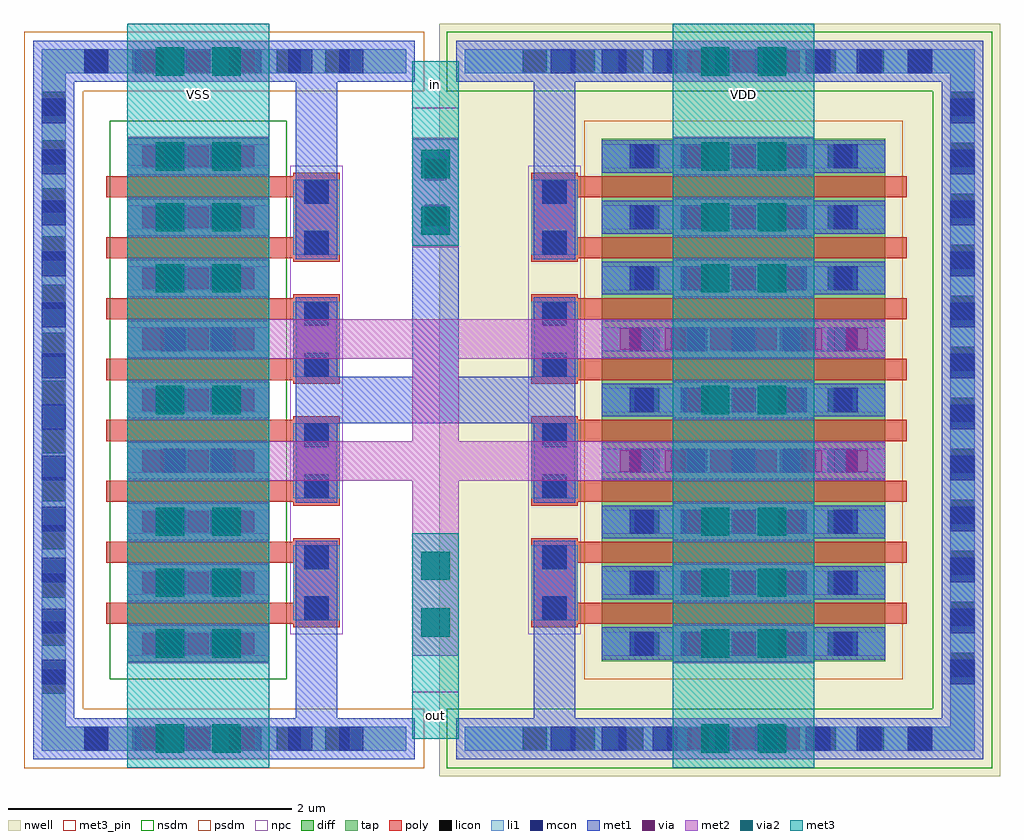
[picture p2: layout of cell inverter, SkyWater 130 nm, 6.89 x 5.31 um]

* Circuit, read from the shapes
.subckt inverter VDD VSS in out
XM1 VSS VSS VSS VSS sky130_fd_pr__nfet_01v8 w=1 l=0.15 m=4
XM2 out in VSS VSS sky130_fd_pr__nfet_01v8 w=1 l=0.15 m=4
XM3 VDD VDD VDD VDD sky130_fd_pr__pfet_01v8 w=2 l=0.15 m=4
XM4 out in VDD VDD sky130_fd_pr__pfet_01v8 w=2 l=0.15 m=4
.ends

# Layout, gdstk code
from math import pi, radians
import gdstk
lib = gdstk.Library(unit=1e-6, precision=1e-09)
def R(c, l, rs):  # rectangles x0, y0, x1, y1
    for r in rs: c.add(gdstk.rectangle(r[:2], r[2:], *l))
def A(c, l, x, y, w, h, nx, ny, dx, dy):  # array of equal rectangles
    R(c, l, [(x+i*dx, y+j*dy, x+i*dx+w, y+j*dy+h) for i in range(nx) for j in range(ny)])
nwell = (64, 20)
diff = (65, 20)
tap = (65, 44)
poly = (66, 20)
licon = (66, 44)
li1 = (67, 20)
mcon = (67, 44)
met1 = (68, 20)
via = (68, 44)
met2 = (69, 20)
via2 = (69, 44)
met3_pin = (70, 16)
met3 = (70, 20)
nsdm = (93, 44)
psdm = (94, 20)
npc = (95, 20)

polyconn_cdns_7135568212 = lib.new_cell('polyConn_CDNS_713556821250')
R(polyconn_cdns_7135568212, poly, [(-0.165,-0.315,0.165,0.315)])
R(polyconn_cdns_7135568212, licon, [(-0.085,-0.265,0.085,-0.095), (-0.085,0.095,0.085,0.265)])
R(polyconn_cdns_7135568212, li1, [(-0.165,-0.265,0.165,0.265)])
R(polyconn_cdns_7135568212, mcon, [(-0.085,-0.265,0.085,-0.095), (-0.085,0.095,0.085,0.265)])
R(polyconn_cdns_7135568212, met1, [(-0.145,-0.295,0.145,0.295)])
R(polyconn_cdns_7135568212, npc, [(-0.185,-0.365,0.185,0.365)])

m2m3_c_cdns_713556821256 = lib.new_cell('M2M3_C_CDNS_7135568212564')
R(m2m3_c_cdns_713556821256, met2, [(-0.5,-0.14,0.5,0.14)])
R(m2m3_c_cdns_713556821256, via2, [(-0.3,-0.1,-0.1,0.1), (0.1,-0.1,0.3,0.1)])
R(m2m3_c_cdns_713556821256, met3, [(-0.5,-0.165,0.5,0.165)])

c_m2m3_c_cdns_713556821256 = lib.new_cell('M2M3_C_CDNS_7135568212562')
R(c_m2m3_c_cdns_713556821256, met2, [(-0.5,-0.145,0.5,0.145)])
R(c_m2m3_c_cdns_713556821256, via2, [(-0.3,-0.1,-0.1,0.1), (0.1,-0.1,0.3,0.1)])
R(c_m2m3_c_cdns_713556821256, met3, [(-0.5,-0.165,0.5,0.165)])

m2m3_c_cdns_713556821255 = lib.new_cell('M2M3_C_CDNS_713556821255')
R(m2m3_c_cdns_713556821255, met2, [(-0.165,-0.43,0.165,0.43)])
R(m2m3_c_cdns_713556821255, via2, [(-0.1,-0.3,0.1,-0.1), (-0.1,0.1,0.1,0.3)])
R(m2m3_c_cdns_713556821255, met3, [(-0.165,-0.43,0.165,0.43)])

m1m2_c_cdns_713556821256 = lib.new_cell('M1M2_C_CDNS_7135568212563')
R(m1m2_c_cdns_713556821256, met1, [(-0.5,-0.13,0.5,0.13)])
A(m1m2_c_cdns_713556821256, via, -0.395, -0.075, 0.15, 0.15, 3, 1, 0.32, 0)
R(m1m2_c_cdns_713556821256, met2, [(-0.5,-0.14,0.5,0.14)])

c_m1m2_c_cdns_713556821256 = lib.new_cell('M1M2_C_CDNS_7135568212561')
R(c_m1m2_c_cdns_713556821256, met1, [(-0.5,-0.145,0.5,0.145)])
A(c_m1m2_c_cdns_713556821256, via, -0.395, -0.075, 0.15, 0.15, 3, 1, 0.32, 0)
R(c_m1m2_c_cdns_713556821256, met2, [(-0.5,-0.145,0.5,0.145)])

m1m2_c_cdns_713556821254 = lib.new_cell('M1M2_C_CDNS_7135568212544')
R(m1m2_c_cdns_713556821254, met1, [(-0.5,-0.13,0.5,0.13)])
A(m1m2_c_cdns_713556821254, via, -0.395, -0.075, 0.15, 0.15, 3, 1, 0.32, 0)
R(m1m2_c_cdns_713556821254, met2, [(-0.5,-0.13,0.5,0.13)])

nfet_01v8_cdns_713556821 = lib.new_cell('nfet_01v8_CDNS_7135568212514')
R(nfet_01v8_cdns_713556821, diff, [(0,-1.665,1,0.225)])
A(nfet_01v8_cdns_713556821, poly, -0.15, -1.44, 1.3, 0.15, 1, 4, 0, 0.43)
A(nfet_01v8_cdns_713556821, licon, 0.245, -1.665, 0.17, 0.17, 1, 5, 0, 0.43)
A(nfet_01v8_cdns_713556821, licon, 0.585, -1.665, 0.17, 0.17, 1, 5, 0, 0.43)
A(nfet_01v8_cdns_713556821, li1, 0, -1.665, 1, 0.17, 1, 5, 0, 0.43)
A(nfet_01v8_cdns_713556821, mcon, 0.235, -1.665, 0.17, 0.17, 1, 5, 0, 0.43)
A(nfet_01v8_cdns_713556821, mcon, 0.595, -1.665, 0.17, 0.17, 1, 5, 0, 0.43)
A(nfet_01v8_cdns_713556821, met1, 0, -1.695, 1, 0.23, 1, 5, 0, 0.43)
R(nfet_01v8_cdns_713556821, nsdm, [(-0.125,-1.79,1.125,0.35)])

c_nfet_01v8_cdns_713556821 = lib.new_cell('nfet_01v8_CDNS_7135568212510')
R(c_nfet_01v8_cdns_713556821, diff, [(0,-0.845,1,0.055)])
R(c_nfet_01v8_cdns_713556821, poly, [(-0.15,-0.58,1.15,-0.43), (-0.15,-0.15,1.15,0)])
R(c_nfet_01v8_cdns_713556821, licon, [(0.245,-0.805,0.415,-0.635), (0.585,-0.805,0.755,-0.635), (0.245,-0.375,0.415,-0.205), (0.585,-0.375,0.755,-0.205)])
R(c_nfet_01v8_cdns_713556821, li1, [(0,-0.805,1,-0.635), (0,-0.375,1,-0.205)])
R(c_nfet_01v8_cdns_713556821, mcon, [(0.235,-0.805,0.405,-0.635), (0.595,-0.805,0.765,-0.635), (0.235,-0.375,0.405,-0.205), (0.595,-0.375,0.765,-0.205)])
R(c_nfet_01v8_cdns_713556821, met1, [(0,-0.835,1,-0.605), (0,-0.405,1,-0.175)])
R(c_nfet_01v8_cdns_713556821, nsdm, [(-0.125,-0.97,1.125,0.18)])

m1m2_c_cdns_713556821255 = lib.new_cell('M1M2_C_CDNS_7135568212558')
R(m1m2_c_cdns_713556821255, met1, [(-1,-0.13,1,0.13)])
A(m1m2_c_cdns_713556821255, via, -0.875, -0.075, 0.15, 0.15, 6, 1, 0.32, 0)
R(m1m2_c_cdns_713556821255, met2, [(-1,-0.13,1,0.13)])

pfet_01v8_cdns_713556821 = lib.new_cell('pfet_01v8_CDNS_7135568212516')
R(pfet_01v8_cdns_713556821, nwell, [(-0.18,-1.025,2.18,0.235)])
R(pfet_01v8_cdns_713556821, diff, [(0,-0.845,2,0.055)])
R(pfet_01v8_cdns_713556821, poly, [(-0.15,-0.58,2.15,-0.43), (-0.15,-0.15,2.15,0)])
A(pfet_01v8_cdns_713556821, licon, 0.235, -0.805, 0.17, 0.17, 5, 2, 0.34, 0.43)
R(pfet_01v8_cdns_713556821, li1, [(0,-0.805,2,-0.635), (0,-0.375,2,-0.205)])
A(pfet_01v8_cdns_713556821, mcon, 0.195, -0.805, 0.17, 0.17, 5, 2, 0.36, 0.43)
R(pfet_01v8_cdns_713556821, met1, [(0,-0.835,2,-0.605), (0,-0.405,2,-0.175)])
R(pfet_01v8_cdns_713556821, psdm, [(-0.125,-0.97,2.125,0.18)])

c_pfet_01v8_cdns_713556821 = lib.new_cell('pfet_01v8_CDNS_7135568212515')
R(c_pfet_01v8_cdns_713556821, nwell, [(-0.18,-1.845,2.18,0.405)])
R(c_pfet_01v8_cdns_713556821, diff, [(0,-1.665,2,0.225)])
A(c_pfet_01v8_cdns_713556821, poly, -0.15, -1.44, 2.3, 0.15, 1, 4, 0, 0.43)
A(c_pfet_01v8_cdns_713556821, licon, 0.235, -1.665, 0.17, 0.17, 5, 5, 0.34, 0.43)
A(c_pfet_01v8_cdns_713556821, li1, 0, -1.665, 2, 0.17, 1, 5, 0, 0.43)
A(c_pfet_01v8_cdns_713556821, mcon, 0.195, -1.665, 0.17, 0.17, 5, 5, 0.36, 0.43)
A(c_pfet_01v8_cdns_713556821, met1, 0, -1.695, 2, 0.23, 1, 5, 0, 0.43)
R(c_pfet_01v8_cdns_713556821, psdm, [(-0.125,-1.79,2.125,0.35)])

c_m2m3_c_cdns_713556821256_ = lib.new_cell('M2M3_C_CDNS_7135568212560')
R(c_m2m3_c_cdns_713556821256_, met2, [(-0.165,-0.385,0.165,0.385)])
R(c_m2m3_c_cdns_713556821256_, via2, [(-0.1,-0.3,0.1,-0.1), (-0.1,0.1,0.1,0.3)])
R(c_m2m3_c_cdns_713556821256_, met3, [(-0.165,-0.375,0.165,0.375)])

c_m1m2_c_cdns_713556821255 = lib.new_cell('M1M2_C_CDNS_7135568212559')
R(c_m1m2_c_cdns_713556821255, met1, [(-0.165,-0.375,0.165,0.375)])
R(c_m1m2_c_cdns_713556821255, via, [(-0.075,-0.235,0.075,-0.085), (-0.075,0.085,0.075,0.235)])
R(c_m1m2_c_cdns_713556821255, met2, [(-0.165,-0.385,0.165,0.385)])

c_nfet_01v8_cdns_713556821_ = lib.new_cell('nfet_01v8_CDNS_7135568212513')
R(c_nfet_01v8_cdns_713556821_, diff, [(0,-0.635,1,0.265)])
R(c_nfet_01v8_cdns_713556821_, poly, [(-0.15,-0.58,1.15,-0.43), (-0.15,-0.15,1.15,0)])
R(c_nfet_01v8_cdns_713556821_, licon, [(0.245,-0.375,0.415,-0.205), (0.585,-0.375,0.755,-0.205), (0.245,0.055,0.415,0.225), (0.585,0.055,0.755,0.225)])
R(c_nfet_01v8_cdns_713556821_, li1, [(0,-0.375,1,-0.205), (0,0.055,1,0.225)])
R(c_nfet_01v8_cdns_713556821_, mcon, [(0.235,-0.375,0.405,-0.205), (0.595,-0.375,0.765,-0.205), (0.235,0.055,0.405,0.225), (0.595,0.055,0.765,0.225)])
R(c_nfet_01v8_cdns_713556821_, met1, [(0,-0.405,1,-0.175), (0,0.025,1,0.255)])
R(c_nfet_01v8_cdns_713556821_, nsdm, [(-0.125,-0.76,1.125,0.39)])

c_pfet_01v8_cdns_713556821_ = lib.new_cell('pfet_01v8_CDNS_7135568212512')
R(c_pfet_01v8_cdns_713556821_, nwell, [(-0.18,-0.815,2.18,0.445)])
R(c_pfet_01v8_cdns_713556821_, diff, [(0,-0.635,2,0.265)])
R(c_pfet_01v8_cdns_713556821_, poly, [(-0.15,-0.58,2.15,-0.43), (-0.15,-0.15,2.15,0)])
A(c_pfet_01v8_cdns_713556821_, licon, 0.235, -0.375, 0.17, 0.17, 5, 2, 0.34, 0.43)
R(c_pfet_01v8_cdns_713556821_, li1, [(0,-0.375,2,-0.205), (0,0.055,2,0.225)])
A(c_pfet_01v8_cdns_713556821_, mcon, 0.195, -0.375, 0.17, 0.17, 5, 2, 0.36, 0.43)
R(c_pfet_01v8_cdns_713556821_, met1, [(0,-0.405,2,-0.175), (0,0.025,2,0.255)])
R(c_pfet_01v8_cdns_713556821_, psdm, [(-0.125,-0.76,2.125,0.39)])

inverter = lib.new_cell('inverter')
R(inverter, nwell, [(2.93,-5.31,6.89,0)])
R(inverter, tap, [(0.125,-5.13,2.7,-4.96), (3.11,-5.13,6.71,-4.96), (0.125,-4.96,0.295,-0.35), (6.54,-4.96,6.71,-0.35), (0.125,-0.35,2.7,-0.18), (3.11,-0.35,6.71,-0.18)])
A(inverter, poly, 1.73, -4.235, 0.5, 0.15, 1, 8, 0, 0.43)
A(inverter, poly, 3.58, -4.235, 0.5, 0.15, 1, 8, 0, 0.43)
A(inverter, licon, 0.425, -5.13, 0.17, 0.17, 6, 2, 0.34, 4.78)
A(inverter, licon, 3.52, -5.13, 0.17, 0.17, 9, 2, 0.34, 4.78)
A(inverter, licon, 0.125, -4.73, 0.17, 0.17, 1, 13, 0, 0.34)
A(inverter, licon, 6.54, -4.61, 0.17, 0.17, 1, 12, 0, 0.36)
R(inverter, li1, [(0.125,-5.13,2.7,-4.96), (3.11,-5.13,6.71,-4.96), (0.125,-4.96,0.295,-0.35), (6.54,-4.96,6.71,-0.35), (0.125,-0.35,2.7,-0.18), (3.11,-0.35,6.71,-0.18)])
A(inverter, mcon, 0.425, -5.13, 0.17, 0.17, 6, 2, 0.36, 4.78)
A(inverter, mcon, 3.72, -5.13, 0.17, 0.17, 8, 2, 0.36, 4.78)
A(inverter, mcon, 0.125, -4.66, 0.17, 0.17, 1, 12, 0, 0.36)
A(inverter, mcon, 6.54, -4.66, 0.17, 0.17, 1, 12, 0, 0.36)
R(inverter, met1, [(0.065,-5.19,2.76,-4.9), (3.05,-5.19,6.77,-4.9), (0.065,-4.9,0.355,-0.41), (1.92,-4.9,2.21,-3.65), (3.6,-4.9,3.89,-3.65), (6.48,-4.9,6.77,-0.41), (1.92,-3.38,2.21,-2.82), (3.6,-3.38,3.89,-2.82), (1.92,-2.82,3.89,-2.49), (1.92,-2.49,2.21,-1.93), (2.74,-2.49,3.07,-0.815), (3.6,-2.49,3.89,-1.93), (1.92,-1.66,2.21,-0.41), (3.6,-1.66,3.89,-0.41), (0.065,-0.41,2.76,-0.12), (3.05,-0.41,6.77,-0.12)])
R(inverter, met2, [(2.74,-4.46,3.07,-3.225), (0.73,-3.225,6.08,-2.945), (2.74,-2.945,3.07,-2.365), (0.73,-2.365,6.08,-2.085)])
R(inverter, met3_pin, [(2.74,-5.045,3.07,-4.715), (0.73,-1,1.73,0), (4.58,-1,5.58,0), (2.74,-0.595,3.07,-0.265)])
R(inverter, met3, [(0.73,-5.25,1.73,0), (4.58,-5.25,5.58,0), (2.74,-5.045,3.07,-3.595), (2.74,-1.565,3.07,-0.265)])
R(inverter, nsdm, [(2.985,-5.255,6.835,-4.835), (6.415,-4.835,6.835,-0.475), (2.985,-0.475,6.835,-0.055)])
R(inverter, psdm, [(0,-5.255,2.825,-4.835), (0,-4.835,0.42,-0.475), (0,-0.475,2.825,-0.055)])
A(inverter, npc, 1.88, -3.58, 0.37, 0.13, 1, 3, 0, 0.86)
A(inverter, npc, 3.56, -3.58, 0.37, 0.13, 1, 3, 0, 0.86)
inverter.add(gdstk.Reference(polyconn_cdns_7135568212, (2.065,-3.945), rotation=pi, x_reflection=True))
inverter.add(gdstk.Reference(m2m3_c_cdns_713556821256, (1.23,-4.375)))
inverter.add(gdstk.Reference(m2m3_c_cdns_713556821256, (1.23,-3.945)))
inverter.add(gdstk.Reference(c_m2m3_c_cdns_713556821256, (1.23,-5.045)))
inverter.add(gdstk.Reference(m2m3_c_cdns_713556821255, (2.905,-4.025)))
inverter.add(gdstk.Reference(m1m2_c_cdns_713556821256, (1.23,-4.375)))
inverter.add(gdstk.Reference(m1m2_c_cdns_713556821256, (1.23,-3.945)))
inverter.add(gdstk.Reference(c_m1m2_c_cdns_713556821256, (1.23,-5.045)))
inverter.add(gdstk.Reference(polyconn_cdns_7135568212, (2.065,-3.085), rotation=pi, x_reflection=True))
inverter.add(gdstk.Reference(m2m3_c_cdns_713556821256, (1.23,-3.515)))
inverter.add(gdstk.Reference(m1m2_c_cdns_713556821256, (1.23,-3.515)))
inverter.add(gdstk.Reference(m1m2_c_cdns_713556821254, (1.23,-3.085)))
inverter.add(gdstk.Reference(nfet_01v8_cdns_713556821, (0.73,-1.935)))
inverter.add(gdstk.Reference(c_nfet_01v8_cdns_713556821, (0.73,-3.655)))
inverter.add(gdstk.Reference(polyconn_cdns_7135568212, (3.745,-3.945)))
inverter.add(gdstk.Reference(m2m3_c_cdns_713556821256, (5.08,-4.375)))
inverter.add(gdstk.Reference(m2m3_c_cdns_713556821256, (5.08,-3.945)))
inverter.add(gdstk.Reference(c_m2m3_c_cdns_713556821256, (5.08,-5.045)))
inverter.add(gdstk.Reference(m1m2_c_cdns_713556821256, (5.08,-4.375)))
inverter.add(gdstk.Reference(m1m2_c_cdns_713556821256, (5.08,-3.945)))
inverter.add(gdstk.Reference(c_m1m2_c_cdns_713556821256, (5.08,-5.045)))
inverter.add(gdstk.Reference(polyconn_cdns_7135568212, (3.745,-3.085)))
inverter.add(gdstk.Reference(m2m3_c_cdns_713556821256, (5.08,-3.515)))
inverter.add(gdstk.Reference(m1m2_c_cdns_713556821256, (5.08,-3.515)))
inverter.add(gdstk.Reference(m1m2_c_cdns_713556821255, (5.08,-3.085)))
inverter.add(gdstk.Reference(pfet_01v8_cdns_713556821, (4.08,-3.655)))
inverter.add(gdstk.Reference(c_pfet_01v8_cdns_713556821, (4.08,-1.935)))
inverter.add(gdstk.Reference(polyconn_cdns_7135568212, (2.065,-2.225), rotation=pi, x_reflection=True))
inverter.add(gdstk.Reference(m2m3_c_cdns_713556821256, (1.23,-2.655)))
inverter.add(gdstk.Reference(m2m3_c_cdns_713556821256, (1.23,-1.795)))
inverter.add(gdstk.Reference(m1m2_c_cdns_713556821256, (1.23,-2.655)))
inverter.add(gdstk.Reference(m1m2_c_cdns_713556821256, (1.23,-1.795)))
inverter.add(gdstk.Reference(m1m2_c_cdns_713556821254, (1.23,-2.225)))
inverter.add(gdstk.Reference(polyconn_cdns_7135568212, (2.065,-1.365), rotation=pi, x_reflection=True))
inverter.add(gdstk.Reference(m2m3_c_cdns_713556821256, (1.23,-1.365)))
inverter.add(gdstk.Reference(m2m3_c_cdns_713556821256, (1.23,-0.935)))
inverter.add(gdstk.Reference(c_m2m3_c_cdns_713556821256_, (2.905,-1.19)))
inverter.add(gdstk.Reference(m1m2_c_cdns_713556821256, (1.23,-1.365)))
inverter.add(gdstk.Reference(m1m2_c_cdns_713556821256, (1.23,-0.935)))
inverter.add(gdstk.Reference(c_m1m2_c_cdns_713556821255, (2.905,-1.19)))
inverter.add(gdstk.Reference(c_nfet_01v8_cdns_713556821_, (0.73,-1.075)))
inverter.add(gdstk.Reference(polyconn_cdns_7135568212, (3.745,-2.225)))
inverter.add(gdstk.Reference(m2m3_c_cdns_713556821256, (5.08,-2.655)))
inverter.add(gdstk.Reference(m2m3_c_cdns_713556821256, (5.08,-1.795)))
inverter.add(gdstk.Reference(m1m2_c_cdns_713556821256, (5.08,-2.655)))
inverter.add(gdstk.Reference(m1m2_c_cdns_713556821256, (5.08,-1.795)))
inverter.add(gdstk.Reference(m1m2_c_cdns_713556821255, (5.08,-2.225)))
inverter.add(gdstk.Reference(polyconn_cdns_7135568212, (3.745,-1.365)))
inverter.add(gdstk.Reference(m2m3_c_cdns_713556821256, (5.08,-1.365)))
inverter.add(gdstk.Reference(m2m3_c_cdns_713556821256, (5.08,-0.935)))
inverter.add(gdstk.Reference(m1m2_c_cdns_713556821256, (5.08,-1.365)))
inverter.add(gdstk.Reference(m1m2_c_cdns_713556821256, (5.08,-0.935)))
inverter.add(gdstk.Reference(c_pfet_01v8_cdns_713556821_, (4.08,-1.075)))
inverter.add(gdstk.Reference(c_m1m2_c_cdns_713556821256, (1.23,-0.265)))
inverter.add(gdstk.Reference(c_m2m3_c_cdns_713556821256, (1.23,-0.265)))
inverter.add(gdstk.Reference(c_m1m2_c_cdns_713556821256, (5.08,-0.265)))
inverter.add(gdstk.Reference(c_m2m3_c_cdns_713556821256, (5.08,-0.265)))
inverter.add(gdstk.Label('in', (2.905,-0.43), layer=70, texttype=5))
inverter.add(gdstk.Label('out', (2.905,-4.88), layer=70, texttype=5))
inverter.add(gdstk.Label('VDD', (5.08,-0.5), layer=70, texttype=5))
inverter.add(gdstk.Label('VSS', (1.23,-0.5), layer=70, texttype=5))

lib.write_gds('inverter.gds')
